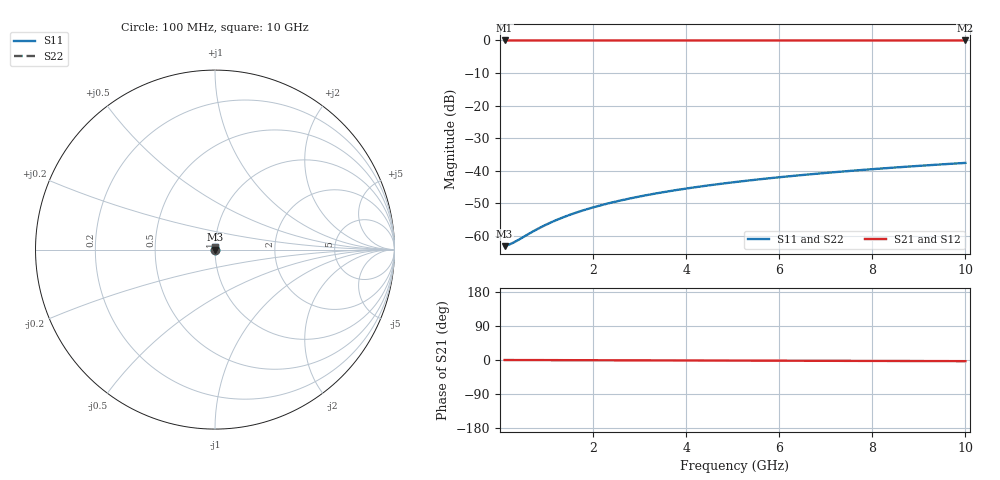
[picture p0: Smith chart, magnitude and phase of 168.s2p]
# Hz S RI R 50.00
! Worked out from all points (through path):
!   100 points, 100 MHz to 10 GHz, reference 50 ohm
!   highest |S21| = -0.01 dB at 100 MHz (marker M1); lowest = 0.0 dB at 10 GHz (marker M2)
!   lowest |S11| = -63.2 dB at 100 MHz (marker M3), VSWR 1.00, Z = 50.1 + j0.0131 ohm
!   |S11| at or under -10 dB: start of sweep to end of sweep
!   |S22| runs from -63.2 to -37.6 dB; largest |S21 - S12| = 0
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1e8  0.000676 0.000131  0.9993 -0.000535  0.9993 -0.000535  0.000676 0.000131
2e8  0.000681 0.000261  0.9993 -0.00107  0.9993 -0.00107  0.000681 0.000261
3e8  0.000684 0.000392  0.9993 -0.0016  0.9993 -0.0016  0.000684 0.000392
8e8  0.000698 0.00104  0.9993 -0.00428  0.9993 -0.00428  0.000698 0.00104
9e8  0.0007 0.00118  0.9993 -0.00481  0.9993 -0.00481  0.0007 0.00118
1.1e9  0.000705 0.00144  0.9993 -0.00588  0.9993 -0.00588  0.000705 0.00144
1.4e9  0.000714 0.00183  0.9993 -0.00749  0.9993 -0.00749  0.000714 0.00183
1.6e9  0.00072 0.00209  0.9993 -0.00856  0.9993 -0.00856  0.00072 0.00209
1.8e9  0.000727 0.00235  0.9992 -0.00963  0.9992 -0.00963  0.000727 0.00235
2.1e9  0.000737 0.00274  0.9992 -0.0112  0.9992 -0.0112  0.000737 0.00274
2.5e9  0.000753 0.00326  0.9992 -0.0134  0.9992 -0.0134  0.000753 0.00326
2.9e9  0.000771 0.00379  0.9991 -0.0155  0.9991 -0.0155  0.000771 0.00379
3.4e9  0.000796 0.00444  0.9991 -0.0182  0.9991 -0.0182  0.000796 0.00444
3.8e9  0.000818 0.00496  0.999 -0.0203  0.999 -0.0203  0.000818 0.00496
4.2e9  0.000843 0.00548  0.999 -0.0225  0.999 -0.0225  0.000843 0.00548
4.6e9  0.00087 0.006  0.9989 -0.0246  0.9989 -0.0246  0.00087 0.006
5.1e9  0.000906 0.00666  0.9989 -0.0273  0.9989 -0.0273  0.000906 0.00666
5.9e9  0.000972 0.0077  0.9987 -0.0316  0.9987 -0.0316  0.000972 0.0077
6.7e9  0.00105 0.00874  0.9986 -0.0358  0.9986 -0.0358  0.00105 0.00874
7.5e9  0.00113 0.00978  0.9984 -0.0401  0.9984 -0.0401  0.00113 0.00978
8.4e9  0.00123 0.011  0.9982 -0.045  0.9982 -0.045  0.00123 0.011
1e10  0.00145 0.013  0.9977 -0.0535  0.9977 -0.0535  0.00145 0.013
